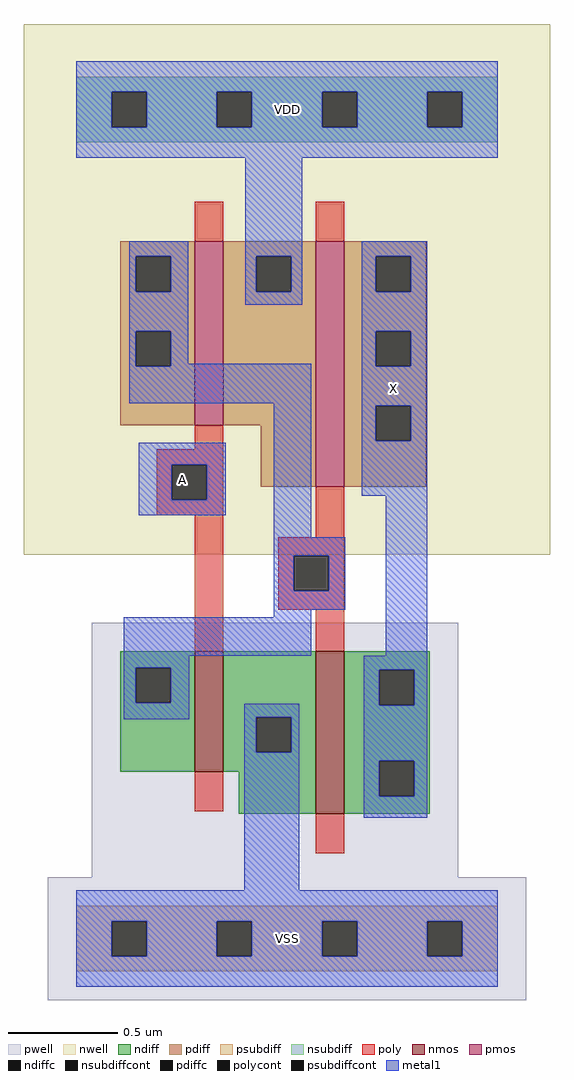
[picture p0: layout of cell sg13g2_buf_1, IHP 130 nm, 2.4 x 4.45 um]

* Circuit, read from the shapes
.subckt sg13g2_buf_1 X A VSS VDD
XM1 VSS A n1 VSS sg13_lv_nmos w=0.55u l=0.13u
XM2 X n1 VSS VSS sg13_lv_nmos w=0.74u l=0.13u
XM3 VDD A n1 VDD sg13_lv_pmos w=0.84u l=0.13u
XM4 X n1 VDD VDD sg13_lv_pmos w=1.12u l=0.13u
.ends

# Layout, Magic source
magic
tech ihp-sg13g2
magscale 1 2
<< nwell >>
rect -48 350 432 834
<< pwell >>
rect 14 56 348 288
rect -26 -56 410 56
<< nmos >>
rect 108 152 134 262
rect 218 114 244 262
<< pmos >>
rect 108 468 134 636
rect 218 412 244 636
<< ndiff >>
rect 40 247 108 262
rect 40 215 54 247
rect 86 215 108 247
rect 40 152 108 215
rect 134 202 218 262
rect 134 170 164 202
rect 196 170 218 202
rect 134 152 218 170
rect 148 114 218 152
rect 244 245 322 262
rect 244 213 276 245
rect 308 213 322 245
rect 244 162 322 213
rect 244 130 276 162
rect 308 130 322 162
rect 244 114 322 130
<< pdiff >>
rect 40 622 108 636
rect 40 590 54 622
rect 86 590 108 622
rect 40 554 108 590
rect 40 522 54 554
rect 86 522 108 554
rect 40 468 108 522
rect 134 622 218 636
rect 134 590 164 622
rect 196 590 218 622
rect 134 468 218 590
rect 168 412 218 468
rect 244 622 319 636
rect 244 590 273 622
rect 305 590 319 622
rect 244 554 319 590
rect 244 522 273 554
rect 305 522 319 554
rect 244 486 319 522
rect 244 454 273 486
rect 305 454 319 486
rect 244 412 319 454
<< ndiffc >>
rect 54 215 86 247
rect 164 170 196 202
rect 276 213 308 245
rect 276 130 308 162
<< pdiffc >>
rect 54 590 86 622
rect 54 522 86 554
rect 164 590 196 622
rect 273 590 305 622
rect 273 522 305 554
rect 273 454 305 486
<< psubdiff >>
rect 0 16 384 30
rect 0 -16 32 16
rect 64 -16 128 16
rect 160 -16 224 16
rect 256 -16 320 16
rect 352 -16 384 16
rect 0 -30 384 -16
<< nsubdiff >>
rect 0 772 384 786
rect 0 740 32 772
rect 64 740 128 772
rect 160 740 224 772
rect 256 740 320 772
rect 352 740 384 772
rect 0 726 384 740
<< psubdiffcont >>
rect 32 -16 64 16
rect 128 -16 160 16
rect 224 -16 256 16
rect 320 -16 352 16
<< nsubdiffcont >>
rect 32 740 64 772
rect 128 740 160 772
rect 224 740 256 772
rect 320 740 352 772
<< poly >>
rect 108 636 134 672
rect 218 636 244 672
rect 108 446 134 468
rect 73 432 134 446
rect 73 400 87 432
rect 119 400 134 432
rect 73 386 134 400
rect 108 262 134 386
rect 218 366 244 412
rect 184 349 244 366
rect 184 317 198 349
rect 230 317 244 349
rect 184 300 244 317
rect 218 262 244 300
rect 108 116 134 152
rect 218 78 244 114
<< polycont >>
rect 87 400 119 432
rect 198 317 230 349
<< metal1 >>
rect 0 772 384 800
rect 0 740 32 772
rect 64 740 128 772
rect 160 740 224 772
rect 256 740 320 772
rect 352 740 384 772
rect 0 712 384 740
rect 48 622 102 636
rect 48 590 54 622
rect 86 590 102 622
rect 48 554 102 590
rect 154 622 206 712
rect 154 590 164 622
rect 196 590 206 622
rect 154 578 206 590
rect 260 622 320 636
rect 260 590 273 622
rect 305 590 320 622
rect 48 522 54 554
rect 86 524 102 554
rect 260 554 320 590
rect 86 522 214 524
rect 48 488 214 522
rect 57 432 136 452
rect 57 400 87 432
rect 119 400 136 432
rect 57 386 136 400
rect 180 366 214 488
rect 260 522 273 554
rect 305 522 320 554
rect 260 486 320 522
rect 260 454 273 486
rect 305 454 320 486
rect 260 404 320 454
rect 180 349 245 366
rect 180 317 198 349
rect 230 317 245 349
rect 180 300 245 317
rect 180 293 214 300
rect 43 258 214 293
rect 282 258 320 404
rect 43 247 103 258
rect 43 215 54 247
rect 86 215 103 247
rect 43 200 103 215
rect 262 245 320 258
rect 153 202 203 214
rect 153 170 164 202
rect 196 170 203 202
rect 153 44 203 170
rect 262 213 276 245
rect 308 213 320 245
rect 262 162 320 213
rect 262 130 276 162
rect 308 130 320 162
rect 262 110 320 130
rect 0 16 384 44
rect 0 -16 32 16
rect 64 -16 128 16
rect 160 -16 224 16
rect 256 -16 320 16
rect 352 -16 384 16
rect 0 -44 384 -16
<< labels >>
flabel metal1 s 263 414 316 589 0 FreeSans 340 0 0 0 X
port 2 nsew
flabel metal1 s 57 386 136 452 0 FreeSans 340 0 0 0 A
port 3 nsew
flabel metal1 s 0 -44 384 44 0 FreeSans 400 0 0 0 VSS
port 4 nsew
flabel metal1 s 0 712 384 800 0 FreeSans 400 0 0 0 VDD
port 5 nsew
<< properties >>
string FIXED_BBOX 0 0 384 756
string GDS_END 111510
string GDS_FILE 6_final.gds
string GDS_START 108382
<< end >>
